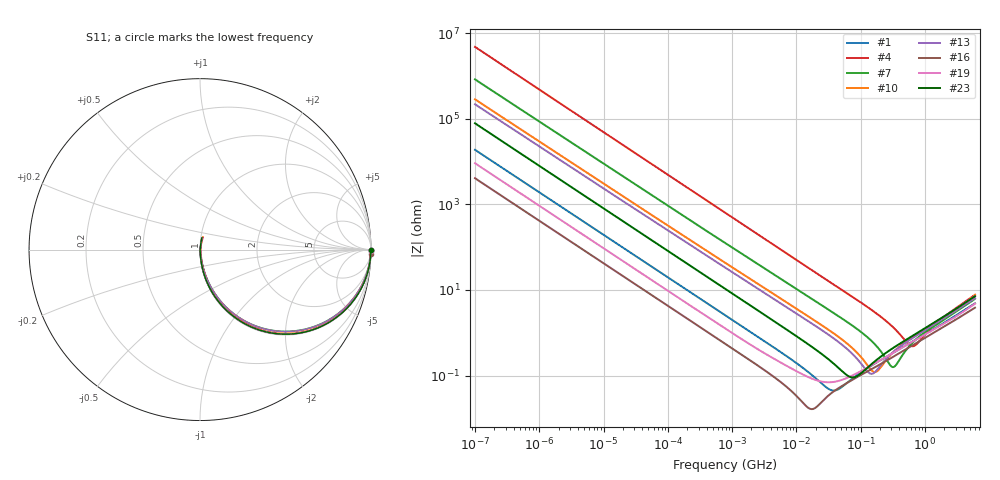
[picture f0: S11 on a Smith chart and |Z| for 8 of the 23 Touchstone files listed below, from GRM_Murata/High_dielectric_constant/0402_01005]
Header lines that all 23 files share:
!These Parameters are Measured in Series Mode Connection
!Data Generated on Mar 30, 2021
!  o--ll--o
!Port1  Port2
!  o------o
!Operation Temp=25[degC], DC Bias Voltage=0[V]
!Freq. Start=100[Hz] Stop=6[GHz] 401[Steps]
# Hz S RI R 50
!Freq.(Hz) S11(Real) S11(Imag) S21(Real) S21(Imag) S12(Real) S12(Imag) S22(Real) S22(Imag)
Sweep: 100 Hz to 6 GHz
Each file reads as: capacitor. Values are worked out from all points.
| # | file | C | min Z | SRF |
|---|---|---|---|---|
| 1 | GRM02YD80G104ME01.s2p | 84.6 nF | 44.4 mohm | 39.29 MHz |
| 2 | GRM022B11A101MA01.s2p | 103 pF | 919 mohm | 1.211 GHz |
| 3 | GRM022B11A151KA01.s2p | 156 pF | 732 mohm | 1.019 GHz |
| 4 | GRM022B11A331MA01.s2p | 335 pF | 482 mohm | 642.7 MHz |
| 5 | GRM022B30J103KE19.s2p | 8.09 nF | 93.7 mohm | 146.1 MHz |
| 6 | GRM022B30J152ME19.s2p | 1.28 nF | 222 mohm | 374.3 MHz |
| 7 | GRM022B30J222KE19.s2p | 1.91 nF | 157 mohm | 319.1 MHz |
| 8 | GRM022B30J332KE19.s2p | 2.68 nF | 173 mohm | 246.4 MHz |
| 9 | GRM022B30J681KE19.s2p | 567 pF | 354 mohm | 541.2 MHz |
| 10 | GRM022B30J682KE19.s2p | 5.58 nF | 120 mohm | 166.9 MHz |
| 11 | GRM022B31A102ME19.s2p | 865 pF | 269 mohm | 435 MHz |
| 12 | GRM022B31A222ME19.s2p | 1.89 nF | 164 mohm | 304.4 MHz |
| 13 | GRM022C80G103ME01.s2p | 7.3 nF | 109 mohm | 148.9 MHz |
| 14 | GRM022D80G104ME15.s2p | 88.9 nF | 30.8 mohm | 39.77 MHz |
| 15 | GRM022D80G223ME01.s2p | 19.6 nF | 84.9 mohm | 77.11 MHz |
| 16 | GRM022D80G474ME01.s2p | 390 nF | 16.4 mohm | 17.98 MHz |
| 17 | GRM022R60G105ME01.s2p | 589 nF | 11.8 mohm | 14.89 MHz |
| 18 | GRM022R60G153KE15.s2p | 13.1 nF | 119 mohm | 93.86 MHz |
| 19 | GRM022R60G224ME14.s2p | 174 nF | 69.5 mohm | 31.79 MHz |
| 20 | GRM022R60G333ME15.s2p | 29.9 nF | 76 mohm | 62.12 MHz |
| 21 | GRM022R60G473ME15.s2p | 44.6 nF | 63.9 mohm | 51.75 MHz |
| 22 | GRM022R60J104KE15.s2p | 86.2 nF | 34.2 mohm | 38.77 MHz |
| 23 | GRM022R60J223KE15.s2p | 20.3 nF | 89.9 mohm | 76.1 MHz |
